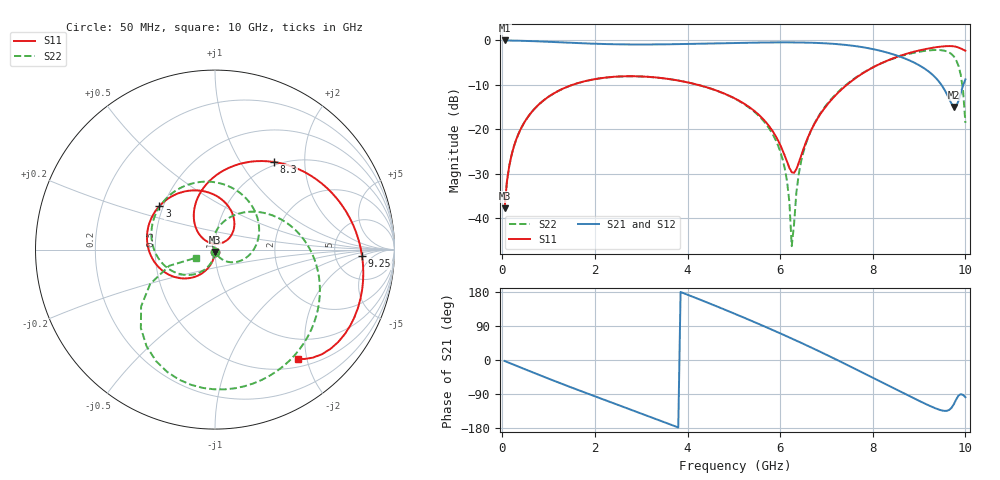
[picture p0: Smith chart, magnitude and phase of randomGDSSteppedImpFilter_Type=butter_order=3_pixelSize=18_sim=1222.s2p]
! freq	dB(S11)	phase(S11)	dB(S12)	phase(S12)
!  dB(S21)	phase(S21)	dB(S22)	phase(S22)
!S-par simulation data
#  GHz  S  DB  R 50
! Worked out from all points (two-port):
!   200 points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, 50 MHz to 10 GHz, reference 50 ohm
!   highest |S21| = 0.00 dB at 50 MHz (marker M1); lowest = -15.0 dB at 9.75 GHz (marker M2)
!   |S21| within 3 dB of the highest: start of sweep to 8.401 GHz
!   lowest |S11| = -37.8 dB at 50 MHz (marker M3), VSWR 1.03, Z = 49.9 - j1.29 ohm
!   |S11| at or under -10 dB: start of sweep to 1.517 GHz; 4.222 GHz to 7.441 GHz (3.218 GHz wide, 55.2 % of centre)
!   |S22| runs from -46.4 to -2.2 dB; largest |S21 - S12| = 0
!   S11 on the Smith chart (normalised r, x): 50 MHz: 1.00, -0.03; 3 GHz: 0.48, +0.27; 8.3 GHz: 0.95, +1.42; 9.25 GHz: 9.68, -2.03; 10 GHz: 0.63, -1.85
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0.05  -37.80 -92.2  -0.00 -2.5  -0.00 -2.5  -37.86 -92.6
0.2  -25.81 -99.6  -0.03 -10.1  -0.03 -10.1  -25.83 -101.1
0.5  -18.07 -113.6  -0.10 -24.9  -0.10 -24.9  -18.07 -117.3
1.75  -9.27 -168.2  -0.65 -84.4  -0.65 -84.4  -9.28 178.1
3  -8.11 142.0  -0.91 -141.0  -0.91 -141.0  -8.13 114.7
3.4  -8.43 126.5  -0.89 -159.4  -0.89 -159.4  -8.44 93.7
4.2  -9.94 95.6  -0.75 162.7  -0.75 162.7  -9.93 49.7
5.05  -13.22 62.9  -0.56 120.5  -0.56 120.5  -13.28 0.5
5.95  -22.43 38.6  -0.44 73.2  -0.44 73.2  -23.54 -54.4
6.15  -27.37 52.2  -0.43 62.2  -0.43 62.2  -31.83 -70.6
6.2  -28.72 62.0  -0.44 59.5  -0.44 59.5  -36.48 -79.3
6.25  -29.70 76.1  -0.44 56.7  -0.44 56.7  -46.36 -110.0
6.4  -27.62 120.2  -0.45 48.3  -0.45 48.3  -30.22 107.8
6.7  -19.61 137.1  -0.52 31.3  -0.52 31.3  -19.54 85.8
7.45  -9.92 105.9  -1.05 -13.1  -1.05 -13.1  -9.78 40.0
8.3  -4.60 56.0  -2.70 -65.4  -2.70 -65.4  -4.65 -11.7
8.35  -4.39 53.0  -2.84 -68.4  -2.84 -68.4  -4.45 -14.8
9.25  -1.72 -2.4  -7.36 -122.1  -7.36 -122.1  -2.21 -73.9
9.55  -1.31 -22.2  -11.13 -134.3  -11.13 -134.3  -2.33 -100.0
9.75  -1.33 -36.9  -15.01 -116.7  -15.01 -116.7  -3.60 -125.2
9.9  -1.81 -47.8  -11.84 -90.0  -11.84 -90.0  -7.77 -152.1
10  -2.31 -52.7  -8.78 -98.2  -8.78 -98.2  -18.56 -156.9
